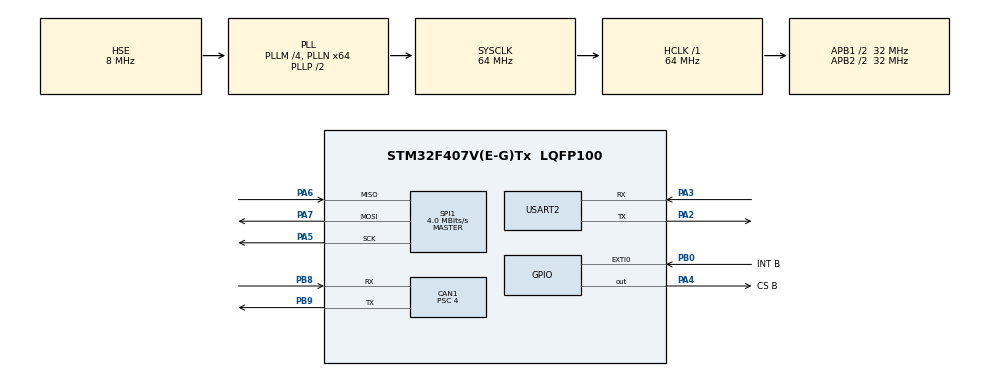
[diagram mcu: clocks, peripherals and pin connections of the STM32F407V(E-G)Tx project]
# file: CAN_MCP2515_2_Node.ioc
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CAN1.BS1=CAN_BS1_13TQ
CAN1.BS2=CAN_BS2_2TQ
CAN1.CalculateBaudRate=500000
CAN1.CalculateTimeBit=2000
CAN1.CalculateTimeQuantum=125.0
CAN1.NART=ENABLE
CAN1.Prescaler=4
Mcu.Family=STM32F4
Mcu.Name=STM32F407V(E-G)Tx
Mcu.Package=LQFP100
NVIC.CAN1_RX0_IRQn=true\:0\:0\:false\:false\:true\:true\:true\:true
NVIC.EXTI0_IRQn=true\:0\:0\:false\:false\:true\:true\:true\:true
NVIC.PriorityGroup=NVIC_PRIORITYGROUP_0
PA13.Mode=Serial_Wire
PA13.Signal=SYS_JTMS-SWDIO
PA14.Mode=Serial_Wire
PA14.Signal=SYS_JTCK-SWCLK
PA2.Mode=Asynchronous
PA2.Signal=USART2_TX
PA3.Mode=Asynchronous
PA3.Signal=USART2_RX
PA4.GPIO_Label=CS B
PA4.GPIO_Speed=GPIO_SPEED_FREQ_HIGH
PA4.PinState=GPIO_PIN_SET
PA4.Signal=GPIO_Output
PA5.Mode=Full_Duplex_Master
PA5.Signal=SPI1_SCK
PA6.Mode=Full_Duplex_Master
PA6.Signal=SPI1_MISO
PA7.Mode=Full_Duplex_Master
PA7.Signal=SPI1_MOSI
PB0.GPIO_Label=INT B
PB0.GPIO_ModeDefaultEXTI=GPIO_MODE_IT_FALLING
PB0.GPIO_PuPd=GPIO_PULLUP
PB0.Signal=GPXTI0
PB8.Mode=CAN_Activate
PB8.Signal=CAN1_RX
PB9.Mode=CAN_Activate
PB9.Signal=CAN1_TX
PH0-OSC_IN.Mode=HSE-External-Oscillator
PH0-OSC_IN.Signal=RCC_OSC_IN
PH1-OSC_OUT.Mode=HSE-External-Oscillator
PH1-OSC_OUT.Signal=RCC_OSC_OUT
ProjectManager.HeapSize=0x200
ProjectManager.StackSize=0x400
ProjectManager.TargetToolchain=STM32CubeIDE
RCC.48MHZClocksFreq_Value=18285714.285714287
RCC.AHBFreq_Value=64000000
RCC.APB1CLKDivider=RCC_HCLK_DIV2
RCC.APB1Freq_Value=32000000
RCC.APB1TimFreq_Value=64000000
RCC.APB2CLKDivider=RCC_HCLK_DIV2
RCC.APB2Freq_Value=32000000
RCC.APB2TimFreq_Value=64000000
RCC.CortexFreq_Value=64000000
RCC.HCLKFreq_Value=64000000
RCC.HSE_VALUE=8000000
RCC.HSI_VALUE=16000000
RCC.LSE_VALUE=32768
RCC.PLLM=4
RCC.PLLN=64
RCC.PLLQ=7
RCC.PLLSourceVirtual=RCC_PLLSOURCE_HSE
RCC.SYSCLKFreq_VALUE=64000000
RCC.SYSCLKSource=RCC_SYSCLKSOURCE_PLLCLK
RCC.VCOOutputFreq_Value=128000000
SPI1.BaudRatePrescaler=SPI_BAUDRATEPRESCALER_8
SPI1.CalculateBaudRate=4.0 MBits/s
SPI1.Direction=SPI_DIRECTION_2LINES
SPI1.Mode=SPI_MODE_MASTER
SPI1.VirtualType=VM_MASTER
USART2.VirtualMode=VM_ASYNC
board=STM32F407G-DISC1

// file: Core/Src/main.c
/* USER CODE BEGIN Header */
/**
  ******************************************************************************
  * @file           : main.c
  * @brief          : Main program body
  ******************************************************************************
  * @attention
  *
  * Copyright (c) 2026 STMicroelectronics.
  * All rights reserved.
  *
  * This software is licensed under terms that can be found in the LICENSE file
  * in the root directory of this software component.
  * If no LICENSE file comes with this software, it is provided AS-IS.
  *
  ******************************************************************************
  */
/* USER CODE END Header */
#include "main.h"

/* USER CODE BEGIN Includes */

#include "mcp2515.h"
#include "stdio.h"
#include "string.h"

/* USER CODE END Includes */

CAN_HandleTypeDef hcan1;

SPI_HandleTypeDef hspi1;

UART_HandleTypeDef huart2;

/* USER CODE BEGIN PV */

uint8_t txDataNode1[8];
uint8_t txDataNode2[8];
uint16_t id;
uint8_t rxDataNode1[8];
uint8_t rxDataNode2[8];
uint8_t len;
uint8_t val;
uint8_t mcpstatus;
uint8_t eflg;
uint8_t intf;
uint8_t rxStatus;
uint8_t tec;
uint8_t rec;
uint8_t RXB0;
uint8_t RXB1;

CAN_TxHeaderTypeDef txHeader;
uint32_t txMailbox;
HAL_CAN_StateTypeDef CAN_State_Var;
CAN_RxHeaderTypeDef rxHeader;

char msgNode1[100];
char msgNode2[100];
char msgMCP[100];

uint32_t spi_error;
HAL_SPI_StateTypeDef spi_state;

/* USER CODE END PV */

void SystemClock_Config(void);
static void MX_GPIO_Init(void);
static void MX_CAN1_Init(void);
static void MX_SPI1_Init(void);
static void MX_USART2_UART_Init(void);

/* USER CODE BEGIN 0 */

void CAN_Filter_Config(void)
{
    CAN_FilterTypeDef filter;

    filter.FilterActivation = ENABLE;     // enable this filter
    filter.FilterBank = 0;                // use filter bank 0
    filter.FilterFIFOAssignment = CAN_FILTER_FIFO0; // route to FIFO0

    // Accept all IDs → no filtering
    filter.FilterIdHigh = 0x0000;
    filter.FilterIdLow  = 0x0000;
    filter.FilterMaskIdHigh = 0x0000;
    filter.FilterMaskIdLow  = 0x0000;

    filter.FilterMode = CAN_FILTERMODE_IDMASK;   // mask mode
    filter.FilterScale = CAN_FILTERSCALE_32BIT;  // full 32-bit filter

    filter.SlaveStartFilterBank = 14; // required for STM32F4 dual CAN

    HAL_CAN_ConfigFilter(&hcan1, &filter);
}

void HAL_CAN_RxFifo0MsgPendingCallback(CAN_HandleTypeDef *hcan)
{
    // Read received message from FIFO0
    HAL_CAN_GetRxMessage(hcan, CAN_RX_FIFO0, &rxHeader, rxDataNode1);

    // Convert to readable string
    sprintf(msgNode1, "NodeA ID:0x%03lX Data:%02X %02X %02X\r\n",
            rxHeader.StdId,
			rxDataNode1[0],
			rxDataNode1[1],
			rxDataNode1[2]);

    // Send to UART (Tera Term)
    HAL_UART_Transmit(&huart2, (uint8_t*)msgNode1, strlen(msgNode1), 100);
}

/* USER CODE END 0 */

int main(void)
{

  /* USER CODE BEGIN 1 */
	uint8_t status;
	uint8_t tx[2] = {0xA0, 0x00};
	uint8_t rx[2] = {0};

  /* USER CODE END 1 */

  /* MCU Configuration--------------------------------------------------------*/

  /* Reset of all peripherals, Initializes the Flash interface and the Systick. */
  HAL_Init();

  /* Configure the system clock */
  SystemClock_Config();

  /* Initialize all configured peripherals */
  MX_GPIO_Init();
  MX_CAN1_Init();
  MX_SPI1_Init();
  MX_USART2_UART_Init();
  /* USER CODE BEGIN 2 */

  MCP2515_Init();

  /* Reading MCP2515 status bits */
  MCP2515_CS_LOW();
  HAL_SPI_TransmitReceive(&hspi1, tx, rx, 2, HAL_MAX_DELAY);
  MCP2515_CS_HIGH();

  status = rx[1];

  val = MCP2515_Read(0x0E); // CANSTAT

  sprintf(msgMCP, "MCP Status: 0x%02X\r\n", status);
  HAL_UART_Transmit(&huart2, (uint8_t*)msgMCP, strlen(msgMCP), 100);

  sprintf(msgMCP, "CANSTAT: 0x%02X\r\n", val);
  HAL_UART_Transmit(&huart2, (uint8_t*)msgMCP, strlen(msgMCP), 100);

  CAN_State_Var = HAL_CAN_GetState(&hcan1);

  // Configure filter BEFORE starting CAN
  CAN_Filter_Config();

  // Start CAN peripheral
  if(HAL_CAN_Start(&hcan1) != HAL_OK)
  {
	  Error_Handler();
  }

  CAN_State_Var = HAL_CAN_GetState(&hcan1);

  // Enable RX interrupt
  if(HAL_CAN_ActivateNotification(&hcan1, CAN_IT_RX_FIFO0_MSG_PENDING) != HAL_OK)
  {
	  Error_Handler();
  }

  // Configure CAN message header
  txHeader.StdId = 0x123;       // Standard ID
  txHeader.IDE   = CAN_ID_STD;  // Standard frame
  txHeader.RTR   = CAN_RTR_DATA;// Data frame
  txHeader.DLC   = 3;           // 3 bytes

  // Data payload
  txDataNode1[0] = 0x11;
  txDataNode1[1] = 0x22;
  txDataNode1[2] = 0x33;

  // Wait until mailbox is free
  while(HAL_CAN_GetTxMailboxesFreeLevel(&hcan1) == 0)
  {}

  /*Node B TX*/
  txDataNode2[0] = 0x44;
  txDataNode2[1] = 0x55;
  txDataNode2[2] = 0x66;
  /* USER CODE END 2 */

  /* Infinite loop */
  /* USER CODE BEGIN WHILE */
  while (1)
  {
	//Node1 Tx
	while(HAL_CAN_GetTxMailboxesFreeLevel(&hcan1) == 0);
	if(HAL_CAN_AddTxMessage(&hcan1, &txHeader, txDataNode1, &txMailbox) != HAL_OK)
	{
	  Error_Handler();
	}
	HAL_Delay(100);

	//Node2 Tx
	/*MCP2515_Send(0x200, txDataNode2, 3);
	HAL_Delay(100);*/

	/*NodeB RX*/
	if (MCP2515_Receive(&id, rxDataNode2, &len))
	{
		// Convert to readable string
		sprintf(msgNode2, "ID:0x%03X Data:%02X %02X %02X\r\n",
				id,
				rxDataNode2[0],
				rxDataNode2[1],
				rxDataNode2[2]);

		// Print via UART
		HAL_UART_Transmit(&huart2, (uint8_t*)msgNode2, strlen(msgNode2), 100);
	}

	intf   = MCP2515_Read(CANINTF);
	eflg   = MCP2515_Read(EFLG);
	mcpstatus = MCP2515_Read(CANSTAT);
	rxStatus = MCP2515_ReadStatus();
	tec = MCP2515_Read(0x1C);
	rec = MCP2515_Read(0x1D);
	RXB0 = MCP2515_Read(0x61),
	RXB1 = MCP2515_Read(0x71);

	sprintf(msgMCP,
	        "CANINTF:0x%02X EFLG:0x%02X CANSTAT:0x%02X RXSTATUS:0x%02X TEC:0x%02X REC:0x%02X RXB0:0x%02X RXB1:0x%02X\r\n",
	        intf, eflg, mcpstatus, rxStatus, tec, rec, RXB0, RXB1);
	HAL_UART_Transmit(&huart2, (uint8_t*)msgMCP, strlen(msgMCP), 100);

    /* USER CODE END WHILE */

  }
}

void SystemClock_Config(void)
{
  RCC_OscInitTypeDef RCC_OscInitStruct = {0};
  RCC_ClkInitTypeDef RCC_ClkInitStruct = {0};

  /** Configure the main internal regulator output voltage
  */
  __HAL_RCC_PWR_CLK_ENABLE();
  __HAL_PWR_VOLTAGESCALING_CONFIG(PWR_REGULATOR_VOLTAGE_SCALE1);

  /** Initializes the RCC Oscillators according to the specified parameters
  * in the RCC_OscInitTypeDef structure.
  */
  RCC_OscInitStruct.OscillatorType = RCC_OSCILLATORTYPE_HSE;
  RCC_OscInitStruct.HSEState = RCC_HSE_ON;
  RCC_OscInitStruct.PLL.PLLState = RCC_PLL_ON;
  RCC_OscInitStruct.PLL.PLLSource = RCC_PLLSOURCE_HSE;
  RCC_OscInitStruct.PLL.PLLM = 4;
  RCC_OscInitStruct.PLL.PLLN = 64;
  RCC_OscInitStruct.PLL.PLLP = RCC_PLLP_DIV2;
  RCC_OscInitStruct.PLL.PLLQ = 7;
  if (HAL_RCC_OscConfig(&RCC_OscInitStruct) != HAL_OK)
  {
    Error_Handler();
  }

  /** Initializes the CPU, AHB and APB buses clocks
  */
  RCC_ClkInitStruct.ClockType = RCC_CLOCKTYPE_HCLK|RCC_CLOCKTYPE_SYSCLK
                              |RCC_CLOCKTYPE_PCLK1|RCC_CLOCKTYPE_PCLK2;
  RCC_ClkInitStruct.SYSCLKSource = RCC_SYSCLKSOURCE_PLLCLK;
  RCC_ClkInitStruct.AHBCLKDivider = RCC_SYSCLK_DIV1;
  RCC_ClkInitStruct.APB1CLKDivider = RCC_HCLK_DIV2;
  RCC_ClkInitStruct.APB2CLKDivider = RCC_HCLK_DIV2;

  if (HAL_RCC_ClockConfig(&RCC_ClkInitStruct, FLASH_LATENCY_2) != HAL_OK)
  {
    Error_Handler();
  }
}

static void MX_CAN1_Init(void)
{

  hcan1.Instance = CAN1;
  hcan1.Init.Prescaler = 4;
  hcan1.Init.Mode = CAN_MODE_NORMAL;
  hcan1.Init.SyncJumpWidth = CAN_SJW_1TQ;
  hcan1.Init.TimeSeg1 = CAN_BS1_13TQ;
  hcan1.Init.TimeSeg2 = CAN_BS2_2TQ;
  hcan1.Init.TimeTriggeredMode = DISABLE;
  hcan1.Init.AutoBusOff = DISABLE;
  hcan1.Init.AutoWakeUp = DISABLE;
  hcan1.Init.AutoRetransmission = ENABLE;
  hcan1.Init.ReceiveFifoLocked = DISABLE;
  hcan1.Init.TransmitFifoPriority = DISABLE;
  if (HAL_CAN_Init(&hcan1) != HAL_OK)
  {
    Error_Handler();
  }

}

static void MX_SPI1_Init(void)
{

  /* SPI1 parameter configuration*/
  hspi1.Instance = SPI1;
  hspi1.Init.Mode = SPI_MODE_MASTER;
  hspi1.Init.Direction = SPI_DIRECTION_2LINES;
  hspi1.Init.DataSize = SPI_DATASIZE_8BIT;
  hspi1.Init.CLKPolarity = SPI_POLARITY_LOW;
  hspi1.Init.CLKPhase = SPI_PHASE_1EDGE;
  hspi1.Init.NSS = SPI_NSS_SOFT;
  hspi1.Init.BaudRatePrescaler = SPI_BAUDRATEPRESCALER_8;
  hspi1.Init.FirstBit = SPI_FIRSTBIT_MSB;
  hspi1.Init.TIMode = SPI_TIMODE_DISABLE;
  hspi1.Init.CRCCalculation = SPI_CRCCALCULATION_DISABLE;
  hspi1.Init.CRCPolynomial = 10;
  if (HAL_SPI_Init(&hspi1) != HAL_OK)
  {
    Error_Handler();
  }

}

static void MX_USART2_UART_Init(void)
{

  huart2.Instance = USART2;
  huart2.Init.BaudRate = 115200;
  huart2.Init.WordLength = UART_WORDLENGTH_8B;
  huart2.Init.StopBits = UART_STOPBITS_1;
  huart2.Init.Parity = UART_PARITY_NONE;
  huart2.Init.Mode = UART_MODE_TX_RX;
  huart2.Init.HwFlowCtl = UART_HWCONTROL_NONE;
  huart2.Init.OverSampling = UART_OVERSAMPLING_16;
  if (HAL_UART_Init(&huart2) != HAL_OK)
  {
    Error_Handler();
  }

}

static void MX_GPIO_Init(void)
{
  GPIO_InitTypeDef GPIO_InitStruct = {0};

  /* GPIO Ports Clock Enable */
  __HAL_RCC_GPIOH_CLK_ENABLE();
  __HAL_RCC_GPIOA_CLK_ENABLE();
  __HAL_RCC_GPIOB_CLK_ENABLE();

  /*Configure GPIO pin Output Level */
  HAL_GPIO_WritePin(CS_B_GPIO_Port, CS_B_Pin, GPIO_PIN_SET);

  /*Configure GPIO pin : CS_B_Pin */
  GPIO_InitStruct.Pin = CS_B_Pin;
  GPIO_InitStruct.Mode = GPIO_MODE_OUTPUT_PP;
  GPIO_InitStruct.Pull = GPIO_NOPULL;
  GPIO_InitStruct.Speed = GPIO_SPEED_FREQ_HIGH;
  HAL_GPIO_Init(CS_B_GPIO_Port, &GPIO_InitStruct);

  /*Configure GPIO pin : INT_B_Pin */
  GPIO_InitStruct.Pin = INT_B_Pin;
  GPIO_InitStruct.Mode = GPIO_MODE_IT_FALLING;
  GPIO_InitStruct.Pull = GPIO_PULLUP;
  HAL_GPIO_Init(INT_B_GPIO_Port, &GPIO_InitStruct);

  /* EXTI interrupt init*/
  HAL_NVIC_SetPriority(EXTI0_IRQn, 0, 0);
  HAL_NVIC_EnableIRQ(EXTI0_IRQn);

}

void Error_Handler(void)
{
  __disable_irq();
  while (1)
  {
  }
}
